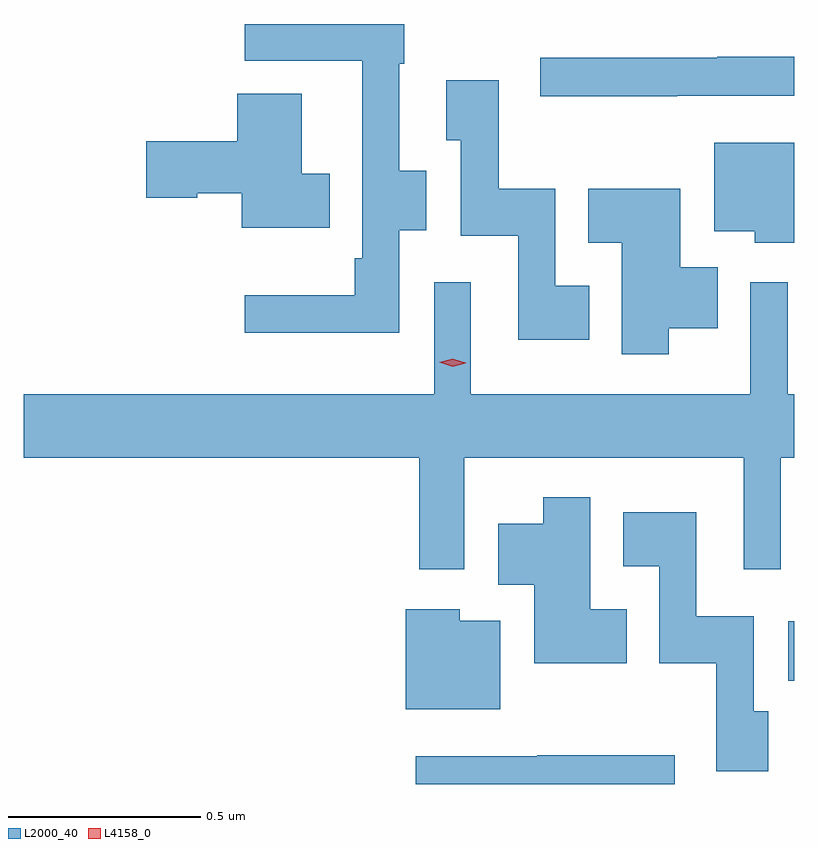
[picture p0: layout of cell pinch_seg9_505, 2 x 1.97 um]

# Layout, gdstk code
import gdstk
lib = gdstk.Library(unit=1e-6, precision=1e-09)
def R(c, l, rs):  # rectangles x0, y0, x1, y1
    for r in rs: c.add(gdstk.rectangle(r[:2], r[2:], *l))
def P(c, l, *ps):  # polygons
    for p in ps: c.add(gdstk.Polygon(p, *l))
L2000_40 = (2000, 40)
L4158_0 = (4158, 0)

pinch_seg9_505 = lib.new_cell('pinch_seg9_505')
R(pinch_seg9_505, L2000_40, [(378.791,1173.196,378.806,1173.351)])
P(pinch_seg9_505, L2000_40, [(377.781,1174.366),(377.851,1174.366),(377.851,1174.521),(377.781,1174.521),(377.781,1174.799),(377.794,1174.799),(377.794,1174.902),(377.379,1174.902),(377.379,1174.806),(377.684,1174.806),(377.684,1174.609),(377.685,1174.609),(377.685,1174.294),(377.665,1174.294),(377.665,1174.198),(377.379,1174.198),(377.379,1174.1),(377.781,1174.1)],
  [(378.503,1174.716),(378.806,1174.716),(378.806,1174.817),(378.607,1174.817),(378.607,1174.814),(378.147,1174.814),(378.147,1174.714),(378.503,1174.714)],
  [(378.274,1174.222),(378.186,1174.222),(378.186,1174.474),(378.039,1174.474),(378.039,1174.756),(377.903,1174.756),(377.903,1174.6),(377.94,1174.6),(377.94,1174.352),(378.09,1174.352),(378.09,1174.082),(378.274,1174.082)],
  [(377.6,1174.513),(377.527,1174.513),(377.527,1174.721),(377.36,1174.721),(377.36,1174.598),(377.124,1174.598),(377.124,1174.451),(377.256,1174.451),(377.256,1174.463),(377.372,1174.463),(377.372,1174.373),(377.6,1174.373)],
  [(378.806,1174.594),(378.599,1174.594),(378.599,1174.364),(378.704,1174.364),(378.704,1174.334),(378.806,1174.334)],
  [(378.481,1174.112),(378.608,1174.112),(378.608,1174.27),(378.511,1174.27),(378.511,1174.474),(378.271,1174.474),(378.271,1174.334),(378.359,1174.334),(378.359,1174.044),(378.481,1174.044)],
  [(377.871,1173.94),(376.806,1173.94),(376.806,1173.776),(377.833,1173.776),(377.833,1173.486),(377.949,1173.486),(377.949,1173.776),(378.675,1173.776),(378.675,1173.486),(378.771,1173.486),(378.771,1173.776),(378.806,1173.776),(378.806,1173.94),(378.79,1173.94),(378.79,1174.231),(378.693,1174.231),(378.693,1173.94),(377.967,1173.94),(377.967,1174.231),(377.871,1174.231)],
  [(378.371,1173.382),(378.277,1173.382),(378.277,1173.673),(378.155,1173.673),(378.155,1173.604),(378.038,1173.604),(378.038,1173.446),(378.131,1173.446),(378.131,1173.242),(378.371,1173.242)],
  [(378.739,1173.117),(378.702,1173.117),(378.702,1173.364),(378.552,1173.364),(378.552,1173.634),(378.363,1173.634),(378.363,1173.494),(378.456,1173.494),(378.456,1173.242),(378.604,1173.242),(378.604,1172.961),(378.739,1172.961)],
  [(378.043,1173.352),(377.938,1173.352),(377.938,1173.382),(377.798,1173.382),(377.798,1173.122),(378.043,1173.122)],
  [(378.496,1173.003),(378.139,1173.003),(378.139,1173),(377.823,1173),(377.823,1172.928),(378.496,1172.928)])
P(pinch_seg9_505, L4158_0, [(377.919,1174.012),(377.884,1174.023),(377.884,1174.023),(377.884,1174.023),(377.919,1174.032),(377.954,1174.022),(377.954,1174.022),(377.954,1174.021)])

lib.write_gds('pinch_seg9_505.gds')
